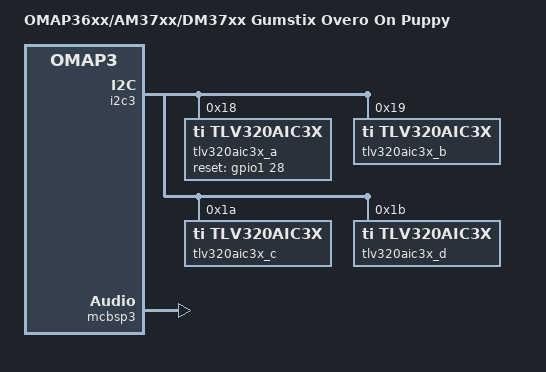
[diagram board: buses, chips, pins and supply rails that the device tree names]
/*
 * Copyright (C) 2015 Caleb Crome, Signal Essence, LLC
 *
 * This program is free software; you can redistribute it and/or modify
 * it under the terms of the GNU General Public License version 2 as
 * published by the Free Software Foundation.
 */

/*
 * Puppy codec board
 */

/dts-v1/;

#include "omap3-overo-storm.dtsi"
#include "omap3-overo-alto35-common.dtsi"

/ {
	model = "OMAP36xx/AM37xx/DM37xx Gumstix Overo On Puppy";
	compatible = "gumstix,omap3-puppy", "gumstix,omap3-overo", "ti,omap36xx", "ti,omap3";

};


&omap3_pmx_core2 {
//	mcbsp2_pins: pinmux_mcbsp2_pins {
//		pinctrl-single,pins = <
//			OMAP3_CORE1_IOPAD(0x213c, PIN_INPUT | MUX_MODE0)	/* mcbsp2_fsx */
//			OMAP3_CORE1_IOPAD(0x213e, PIN_INPUT | MUX_MODE0)	/* mcbsp2_clkx */
//			OMAP3_CORE1_IOPAD(0x2140, PIN_INPUT | MUX_MODE0)	/* mcbsp2_dr */
//			OMAP3_CORE1_IOPAD(0x2142, PIN_OUTPUT | MUX_MODE0)	/* mcbsp2_dx */
//		>;
//	};

/*
 *  MCBSP3 is available on 
 *  OVERO      NAME          OMAP  NAME           ALT   PAD_NAME
 *  PIN                      PIN                  
 *  J1.55 GPIO145_GPT10_PWM  AB25  MCBSP3_DR      1     UART2_RTS
 *  J1.21 GPIO146_GPT11_PWM  AA25  MCBSP3_CLKX    1     UART2_TX
 *  J1.16 GPIO147_GPT8_PWM   AD25  MCBSP3_FSX     1     UART2_RX
 *  J1.18 GPIO144_GPT9_PWM   AB26  MCBSP3_DX      1     UART2_CTS
 */
	mcbsp3_pins: pinmux_mcbsp3_pins {
		pinctrl-single,pins = <
			OMAP3_CORE1_IOPAD(0x2178, PIN_INPUT  | MUX_MODE1)  /* UART2_TX. MCBSP3_CLKX */
			OMAP3_CORE1_IOPAD(0x217a, PIN_INPUT  | MUX_MODE1)  /* UART2_RX. MCBSP3_FSX  */
			OMAP3_CORE1_IOPAD(0x2176, PIN_INPUT  | MUX_MODE1)  /* UART2_RTS.MCBSP3_DR   */
			OMAP3_CORE1_IOPAD(0x2174, PIN_OUTPUT | MUX_MODE1)  /* UART2_CTS.MCBSP_DX    */
		>;
	};
};

&i2c3 {
	pinctrl-names = "default";
	pinctrl-0 = <&i2c3_pins>;
	/*clock-frequency = <2600000>; */
	tlv320aic3x_a: tlv320aic3x@18 {
		compatible = "ti,tlv320aic3x";
		reg = <0x18>;
		tdm-offset = <0>;
		gpio-reset = <&gpio1 28 GPIO_ACTIVE_HIGH>; /* all resets are tied together... */
		status = "okay";
	};
	
	tlv320aic3x_b: tlv320aic3x@19 {
		compatible = "ti,tlv320aic3x";
		reg = <0x19>;
		tdm-offset = <32>;
		status = "okay";
	};
	
	tlv320aic3x_c: tlv320aic3x@1a {
		compatible = "ti,tlv320aic3x";
		reg = <0x1a>;
		tdm-offset = <64>;
		status = "okay";
	};
	
	tlv320aic3x_d: tlv320aic3x@1b {
		compatible = "ti,tlv320aic3x";
		reg = <0x1b>;
		tdm-offset = <96>;
		status = "okay";
	};
	
};


&mcbsp3 {
	status = "ok";
	pinctrl-names = "default";
	pinctrl-0 = <&mcbsp3_pins>;
};

/ {
	sound {
		compatible = "ti,da830-evm-audio";
		ti,model = "PUPPY-AUDIO";
		ti,audio-codec = <
			       &tlv320aic3x_a 
			       &tlv320aic3x_b 
			       &tlv320aic3x_c
			       &tlv320aic3x_d
			       >;
		ti,mcasp-controller = <&mcbsp3>;
		ti,codec-clock-rate = <12288000>;
		ti,audio-routing =
			"Headphone Jack",       "a HPLOUT",
			"Headphone Jack",       "a HPROUT",
			"Headphone Jack",       "b HPLOUT",
			"Headphone Jack",       "b HPROUT",
			"Headphone Jack",       "c HPLOUT",
			"Headphone Jack",       "c HPROUT",
			"Headphone Jack",       "d HPLOUT",
			"Headphone Jack",       "d HPROUT",
			"a LINE1L",               "Line In",
			"a LINE1R",               "Line In",
			"b LINE1L",               "Line In",
			"b LINE1R",               "Line In",
			"c LINE1L",               "Line In",
			"c LINE1R",               "Line In",
			"d LINE1L",               "Line In",
			"d LINE1R",               "Line In";
		status="okay";
	};
};
